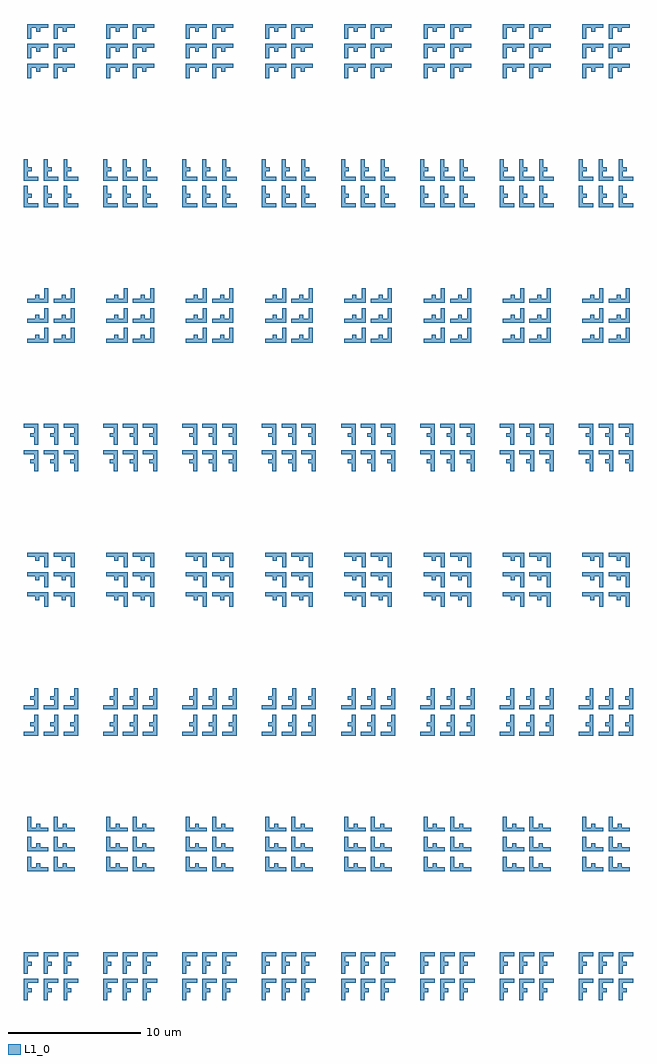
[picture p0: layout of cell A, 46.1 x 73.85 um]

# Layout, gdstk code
from math import pi, radians
import gdstk
lib = gdstk.Library(unit=1e-6, precision=5e-10)
def P(c, l, *ps):  # polygons
    for p in ps: c.add(gdstk.Polygon(p, *l))
L1_0 = (1, 0)

c_t = lib.new_cell('T')
P(c_t, L1_0, [(0,0),(0,1.6),(1.1,1.6),(1.1,1.3),(0.3,1.3),(0.3,0.9),(0.6,0.9),(0.6,0.6),(0.3,0.6),(0.3,0)])

c_a = lib.new_cell('A')
r = gdstk.Reference(c_t, (24,0)); r.repetition = gdstk.Repetition(2, 3, v1=(0,2), v2=(1.5,0)); c_a.add(r)
r = gdstk.Reference(c_t, (6,2)); r.repetition = gdstk.Repetition(3, 2, v1=(1.5,0), v2=(0,-2)); c_a.add(r)
r = gdstk.Reference(c_t, (15,0)); r.repetition = gdstk.Repetition(3, 2, v1=(-1.5,0), v2=(0,2)); c_a.add(r)
r = gdstk.Reference(c_t, (0,0)); r.repetition = gdstk.Repetition(3, 2, v1=(1.5,0), v2=(0,2)); c_a.add(r)
r = gdstk.Reference(c_t, (21,2)); r.repetition = gdstk.Repetition(3, 2, v1=(-1.5,0), v2=(0,-2)); c_a.add(r)
r = gdstk.Reference(c_t, (30,2)); r.repetition = gdstk.Repetition(2, 3, v1=(0,-2), v2=(1.5,0)); c_a.add(r)
r = gdstk.Reference(c_t, (39,0)); r.repetition = gdstk.Repetition(2, 3, v1=(0,2), v2=(-1.5,0)); c_a.add(r)
r = gdstk.Reference(c_t, (45,2)); r.repetition = gdstk.Repetition(2, 3, v1=(0,-2), v2=(-1.5,0)); c_a.add(r)
r = gdstk.Reference(c_t, (28.1,23.6), rotation=pi); r.repetition = gdstk.Repetition(3, 2, v1=(-1.5,0), v2=(0,-2)); c_a.add(r)
r = gdstk.Reference(c_t, (10.1,21.6), rotation=pi); r.repetition = gdstk.Repetition(3, 2, v1=(-1.5,0), v2=(0,2)); c_a.add(r)
r = gdstk.Reference(c_t, (13.1,23.6), rotation=pi); r.repetition = gdstk.Repetition(3, 2, v1=(1.5,0), v2=(0,-2)); c_a.add(r)
r = gdstk.Reference(c_t, (4.1,23.6), rotation=pi); r.repetition = gdstk.Repetition(3, 2, v1=(-1.5,0), v2=(0,-2)); c_a.add(r)
r = gdstk.Reference(c_t, (19.1,21.6), rotation=pi); r.repetition = gdstk.Repetition(3, 2, v1=(1.5,0), v2=(0,2)); c_a.add(r)
r = gdstk.Reference(c_t, (34.1,21.6), rotation=pi); r.repetition = gdstk.Repetition(2, 3, v1=(0,2), v2=(-1.5,0)); c_a.add(r)
r = gdstk.Reference(c_t, (37.1,23.6), rotation=pi); r.repetition = gdstk.Repetition(2, 3, v1=(0,-2), v2=(1.5,0)); c_a.add(r)
r = gdstk.Reference(c_t, (43.1,21.6), rotation=pi); r.repetition = gdstk.Repetition(2, 3, v1=(0,2), v2=(1.5,0)); c_a.add(r)
r = gdstk.Reference(c_t, (24.25,33.85), rotation=3*pi/2); r.repetition = gdstk.Repetition(3, 2, v1=(0,-1.5), v2=(2,0)); c_a.add(r)
r = gdstk.Reference(c_t, (8.25,33.85), rotation=3*pi/2); r.repetition = gdstk.Repetition(2, 3, v1=(-2,0), v2=(0,-1.5)); c_a.add(r)
r = gdstk.Reference(c_t, (12.25,30.85), rotation=3*pi/2); r.repetition = gdstk.Repetition(2, 3, v1=(2,0), v2=(0,1.5)); c_a.add(r)
r = gdstk.Reference(c_t, (0.25,33.85), rotation=3*pi/2); r.repetition = gdstk.Repetition(2, 3, v1=(2,0), v2=(0,-1.5)); c_a.add(r)
r = gdstk.Reference(c_t, (20.25,30.85), rotation=3*pi/2); r.repetition = gdstk.Repetition(2, 3, v1=(-2,0), v2=(0,1.5)); c_a.add(r)
r = gdstk.Reference(c_t, (36.25,30.85), rotation=3*pi/2); r.repetition = gdstk.Repetition(3, 2, v1=(0,1.5), v2=(2,0)); c_a.add(r)
r = gdstk.Reference(c_t, (44.25,30.85), rotation=3*pi/2); r.repetition = gdstk.Repetition(3, 2, v1=(0,1.5), v2=(-2,0)); c_a.add(r)
r = gdstk.Reference(c_t, (22.1,40), rotation=pi, x_reflection=True); r.repetition = gdstk.Repetition(3, 2, v1=(-1.5,0), v2=(0,2)); c_a.add(r)
r = gdstk.Reference(c_t, (40.1,42), rotation=pi, x_reflection=True); r.repetition = gdstk.Repetition(2, 3, v1=(0,-2), v2=(-1.5,0)); c_a.add(r)
r = gdstk.Reference(c_t, (31.1,40), rotation=pi, x_reflection=True); r.repetition = gdstk.Repetition(2, 3, v1=(0,2), v2=(1.5,0)); c_a.add(r)
r = gdstk.Reference(c_t, (46.1,40), rotation=pi, x_reflection=True); r.repetition = gdstk.Repetition(2, 3, v1=(0,2), v2=(-1.5,0)); c_a.add(r)
r = gdstk.Reference(c_t, (25.1,42), rotation=pi, x_reflection=True); r.repetition = gdstk.Repetition(2, 3, v1=(0,-2), v2=(1.5,0)); c_a.add(r)
r = gdstk.Reference(c_t, (16.1,42), rotation=pi, x_reflection=True); r.repetition = gdstk.Repetition(3, 2, v1=(-1.5,0), v2=(0,-2)); c_a.add(r)
r = gdstk.Reference(c_t, (7.1,40), rotation=pi, x_reflection=True); r.repetition = gdstk.Repetition(3, 2, v1=(1.5,0), v2=(0,2)); c_a.add(r)
r = gdstk.Reference(c_t, (1.1,42), rotation=pi, x_reflection=True); r.repetition = gdstk.Repetition(3, 2, v1=(1.5,0), v2=(0,-2)); c_a.add(r)
r = gdstk.Reference(c_t, (18,63.6), x_reflection=True); r.repetition = gdstk.Repetition(3, 2, v1=(1.5,0), v2=(0,-2)); c_a.add(r)
r = gdstk.Reference(c_t, (36,61.6), x_reflection=True); r.repetition = gdstk.Repetition(2, 3, v1=(0,2), v2=(1.5,0)); c_a.add(r)
r = gdstk.Reference(c_t, (33,63.6), x_reflection=True); r.repetition = gdstk.Repetition(2, 3, v1=(0,-2), v2=(-1.5,0)); c_a.add(r)
r = gdstk.Reference(c_t, (42,63.6), x_reflection=True); r.repetition = gdstk.Repetition(2, 3, v1=(0,-2), v2=(1.5,0)); c_a.add(r)
r = gdstk.Reference(c_t, (27,61.6), x_reflection=True); r.repetition = gdstk.Repetition(2, 3, v1=(0,2), v2=(-1.5,0)); c_a.add(r)
r = gdstk.Reference(c_t, (12,61.6), x_reflection=True); r.repetition = gdstk.Repetition(3, 2, v1=(1.5,0), v2=(0,2)); c_a.add(r)
r = gdstk.Reference(c_t, (9,63.6), x_reflection=True); r.repetition = gdstk.Repetition(3, 2, v1=(-1.5,0), v2=(0,-2)); c_a.add(r)
r = gdstk.Reference(c_t, (3,61.6), x_reflection=True); r.repetition = gdstk.Repetition(3, 2, v1=(-1.5,0), v2=(0,2)); c_a.add(r)
r = gdstk.Reference(c_t, (21.85,73.85), rotation=3*pi/2, x_reflection=True); r.repetition = gdstk.Repetition(2, 3, v1=(-2,0), v2=(0,-1.5)); c_a.add(r)
r = gdstk.Reference(c_t, (37.85,73.85), rotation=3*pi/2, x_reflection=True); r.repetition = gdstk.Repetition(3, 2, v1=(0,-1.5), v2=(2,0)); c_a.add(r)
r = gdstk.Reference(c_t, (33.85,70.85), rotation=3*pi/2, x_reflection=True); r.repetition = gdstk.Repetition(3, 2, v1=(0,1.5), v2=(-2,0)); c_a.add(r)
r = gdstk.Reference(c_t, (45.85,73.85), rotation=3*pi/2, x_reflection=True); r.repetition = gdstk.Repetition(3, 2, v1=(0,-1.5), v2=(-2,0)); c_a.add(r)
r = gdstk.Reference(c_t, (25.85,70.85), rotation=3*pi/2, x_reflection=True); r.repetition = gdstk.Repetition(3, 2, v1=(0,1.5), v2=(2,0)); c_a.add(r)
r = gdstk.Reference(c_t, (9.85,70.85), rotation=3*pi/2, x_reflection=True); r.repetition = gdstk.Repetition(2, 3, v1=(-2,0), v2=(0,1.5)); c_a.add(r)
r = gdstk.Reference(c_t, (1.85,70.85), rotation=3*pi/2, x_reflection=True); r.repetition = gdstk.Repetition(2, 3, v1=(2,0), v2=(0,1.5)); c_a.add(r)
r = gdstk.Reference(c_t, (2.25,52.75), rotation=pi/2, x_reflection=True); r.repetition = gdstk.Repetition(2, 3, v1=(-2,0), v2=(0,-1.5)); c_a.add(r)
r = gdstk.Reference(c_t, (6.25,52.75), rotation=pi/2, x_reflection=True); r.repetition = gdstk.Repetition(2, 3, v1=(2,0), v2=(0,-1.5)); c_a.add(r)
r = gdstk.Reference(c_t, (14.25,49.75), rotation=pi/2, x_reflection=True); r.repetition = gdstk.Repetition(2, 3, v1=(-2,0), v2=(0,1.5)); c_a.add(r)
r = gdstk.Reference(c_t, (26.25,52.75), rotation=pi/2, x_reflection=True); r.repetition = gdstk.Repetition(3, 2, v1=(0,-1.5), v2=(-2,0)); c_a.add(r)
r = gdstk.Reference(c_t, (42.25,49.75), rotation=pi/2, x_reflection=True); r.repetition = gdstk.Repetition(3, 2, v1=(0,1.5), v2=(2,0)); c_a.add(r)
r = gdstk.Reference(c_t, (30.25,52.75), rotation=pi/2, x_reflection=True); r.repetition = gdstk.Repetition(3, 2, v1=(0,-1.5), v2=(2,0)); c_a.add(r)
r = gdstk.Reference(c_t, (38.25,49.75), rotation=pi/2, x_reflection=True); r.repetition = gdstk.Repetition(3, 2, v1=(0,1.5), v2=(-2,0)); c_a.add(r)
r = gdstk.Reference(c_t, (18.25,49.75), rotation=pi/2, x_reflection=True); r.repetition = gdstk.Repetition(2, 3, v1=(2,0), v2=(0,1.5)); c_a.add(r)
r = gdstk.Reference(c_t, (13.85,73.85), rotation=3*pi/2, x_reflection=True); r.repetition = gdstk.Repetition(2, 3, v1=(2,0), v2=(0,-1.5)); c_a.add(r)
r = gdstk.Reference(c_t, (43.85,12.75), rotation=pi/2); r.repetition = gdstk.Repetition(3, 2, v1=(0,-1.5), v2=(2,0)); c_a.add(r)
r = gdstk.Reference(c_t, (39.85,12.75), rotation=pi/2); r.repetition = gdstk.Repetition(3, 2, v1=(0,-1.5), v2=(-2,0)); c_a.add(r)
r = gdstk.Reference(c_t, (31.85,9.75), rotation=pi/2); r.repetition = gdstk.Repetition(3, 2, v1=(0,1.5), v2=(2,0)); c_a.add(r)
r = gdstk.Reference(c_t, (19.85,12.75), rotation=pi/2); r.repetition = gdstk.Repetition(2, 3, v1=(2,0), v2=(0,-1.5)); c_a.add(r)
r = gdstk.Reference(c_t, (3.85,9.75), rotation=pi/2); r.repetition = gdstk.Repetition(2, 3, v1=(-2,0), v2=(0,1.5)); c_a.add(r)
r = gdstk.Reference(c_t, (15.85,12.75), rotation=pi/2); r.repetition = gdstk.Repetition(2, 3, v1=(-2,0), v2=(0,-1.5)); c_a.add(r)
r = gdstk.Reference(c_t, (7.85,9.75), rotation=pi/2); r.repetition = gdstk.Repetition(2, 3, v1=(2,0), v2=(0,1.5)); c_a.add(r)
r = gdstk.Reference(c_t, (27.85,9.75), rotation=pi/2); r.repetition = gdstk.Repetition(3, 2, v1=(0,1.5), v2=(-2,0)); c_a.add(r)
r = gdstk.Reference(c_t, (32.25,33.85), rotation=3*pi/2); r.repetition = gdstk.Repetition(3, 2, v1=(0,-1.5), v2=(-2,0)); c_a.add(r)

lib.write_gds('A.gds')
